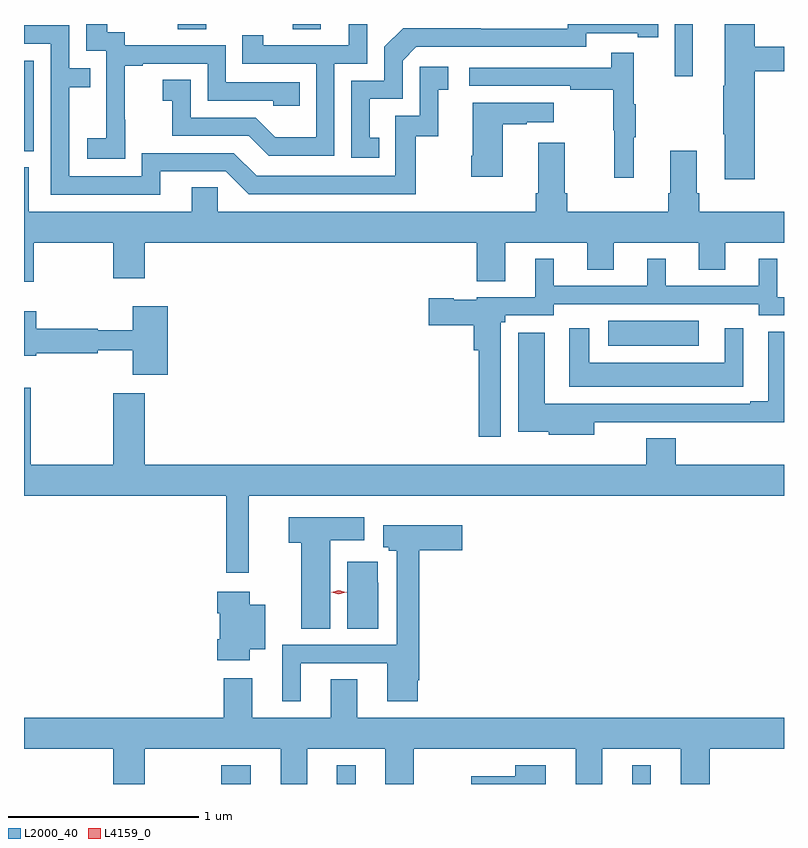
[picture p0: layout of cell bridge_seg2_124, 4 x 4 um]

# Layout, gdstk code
import gdstk
lib = gdstk.Library(unit=1e-6, precision=1e-09)
def R(c, l, rs):  # rectangles x0, y0, x1, y1
    for r in rs: c.add(gdstk.rectangle(r[:2], r[2:], *l))
def P(c, l, *ps):  # polygons
    for p in ps: c.add(gdstk.Polygon(p, *l))
L2000_40 = (2000, 40)
L4159_0 = (4159, 0)

bridge_seg2_124 = lib.new_cell('bridge_seg2_124')
R(bridge_seg2_124, L2000_40, [(453.286,624.807,453.442,624.907), (453.896,624.807,453.994,624.907), (455.45,624.807,455.548,624.907), (455.325,627.113,455.8,627.244), (452.249,628.137,452.301,628.614), (455.673,628.533,455.77,628.807), (453.059,628.78,453.207,628.807), (453.664,628.78,453.811,628.807)])
P(bridge_seg2_124, L2000_40, [(456.095,628.558),(456.249,628.558),(456.249,628.687),(456.095,628.687),(456.095,628.807),(455.936,628.807),(455.936,628.481),(455.929,628.481),(455.929,628.228),(455.936,628.228),(455.936,627.99),(456.095,627.99)],
  [(453.882,628.599),(454.056,628.599),(454.056,628.807),(453.959,628.807),(453.959,628.695),(453.508,628.695),(453.508,628.747),(453.397,628.747),(453.397,628.599),(453.786,628.599),(453.786,628.21),(453.572,628.21),(453.468,628.314),(453.126,628.314),(453.126,628.513),(452.979,628.513),(452.979,628.403),(453.028,628.403),(453.028,628.218),(453.431,628.218),(453.536,628.113),(453.882,628.113)],
  [(452.781,628.303),(452.78,628.303),(452.78,628.587),(452.875,628.587),(452.875,628.599),(453.216,628.599),(453.216,628.404),(453.561,628.404),(453.561,628.377),(453.701,628.377),(453.701,628.5),(453.312,628.5),(453.312,628.695),(452.778,628.695),(452.778,628.764),(452.686,628.764),(452.686,628.807),(452.577,628.807),(452.577,628.665),(452.682,628.665),(452.682,628.436),(452.681,628.436),(452.681,628.207),(452.583,628.207),(452.583,628.097),(452.781,628.097)],
  [(454.118,628.209),(454.069,628.209),(454.069,628.413),(454.242,628.413),(454.242,628.614),(454.314,628.686),(455.208,628.686),(455.208,628.758),(455.48,628.758),(455.48,628.738),(455.588,628.738),(455.588,628.807),(455.112,628.807),(455.112,628.782),(454.652,628.782),(454.652,628.784),(454.244,628.784),(454.146,628.686),(454.146,628.509),(453.972,628.509),(453.972,628.104),(454.118,628.104)],
  [(452.965,628.032),(453.312,628.032),(453.432,627.912),(454.312,627.912),(454.312,628.215),(454.43,628.215),(454.43,628.461),(454.483,628.461),(454.483,628.582),(454.332,628.582),(454.332,628.323),(454.203,628.323),(454.203,628.008),(453.474,628.008),(453.354,628.128),(452.868,628.128),(452.868,628.005),(452.487,628.005),(452.487,628.474),(452.597,628.474),(452.597,628.575),(452.487,628.575),(452.487,628.8),(452.249,628.8),(452.249,628.704),(452.391,628.704),(452.391,627.909),(452.965,627.909)],
  [(455.459,628.211),(455.47,628.211),(455.47,628.385),(455.459,628.385),(455.459,628.657),(455.341,628.657),(455.341,628.578),(454.593,628.578),(454.593,628.482),(455.125,628.482),(455.125,628.462),(455.349,628.462),(455.349,628.248),(455.356,628.248),(455.356,627.999),(455.459,627.999)],
  [(454.768,628.279),(454.895,628.279),(454.895,628.289),(455.038,628.289),(455.038,628.393),(454.61,628.393),(454.61,628.114),(454.603,628.114),(454.603,628.002),(454.768,628.002)],
  [(452.301,627.656),(452.72,627.656),(452.72,627.468),(452.884,627.468),(452.884,627.656),(454.631,627.656),(454.631,627.454),(454.783,627.454),(454.783,627.656),(455.213,627.656),(455.213,627.514),(455.353,627.514),(455.353,627.656),(455.801,627.656),(455.801,627.514),(455.941,627.514),(455.941,627.656),(456.249,627.656),(456.249,627.82),(455.804,627.82),(455.804,627.916),(455.791,627.916),(455.791,628.141),(455.651,628.141),(455.651,627.916),(455.639,627.916),(455.639,627.82),(455.108,627.82),(455.108,627.916),(455.095,627.916),(455.095,628.183),(454.955,628.183),(454.955,627.916),(454.943,627.916),(454.943,627.82),(453.27,627.82),(453.27,627.947),(453.131,627.947),(453.131,627.82),(452.275,627.82),(452.275,628.052),(452.249,628.052),(452.249,627.45),(452.301,627.45)],
  [(454.758,627.237),(454.781,627.237),(454.781,627.273),(455.037,627.273),(455.037,627.333),(456.117,627.333),(456.117,627.273),(456.249,627.273),(456.249,627.369),(456.214,627.369),(456.214,627.571),(456.116,627.571),(456.116,627.429),(455.626,627.429),(455.626,627.571),(455.528,627.571),(455.528,627.429),(455.038,627.429),(455.038,627.571),(454.94,627.571),(454.94,627.369),(454.632,627.369),(454.632,627.355),(454.512,627.355),(454.512,627.363),(454.38,627.363),(454.38,627.221),(454.616,627.221),(454.616,627.089),(454.642,627.089),(454.642,626.634),(454.758,626.634)],
  [(453.005,627.322),(452.822,627.322),(452.822,627.194),(452.638,627.194),(452.638,627.202),(452.314,627.202),(452.314,627.295),(452.249,627.295),(452.249,627.062),(452.314,627.062),(452.314,627.073),(452.638,627.073),(452.638,627.091),(452.822,627.091),(452.822,626.961),(453.005,626.961)],
  [(456.034,627.205),(455.936,627.205),(455.936,627.025),(455.224,627.025),(455.224,627.205),(455.12,627.205),(455.12,626.897),(456.034,626.897)],
  [(455.251,626.712),(455.761,626.712),(455.761,626.71),(456.249,626.71),(456.249,627.187),(456.167,627.187),(456.167,626.821),(456.071,626.821),(456.071,626.808),(454.99,626.808),(454.99,627.181),(454.85,627.181),(454.85,626.66),(455.01,626.66),(455.01,626.645),(455.251,626.645)],
  [(453.431,626.324),(456.249,626.324),(456.249,626.488),(455.678,626.488),(455.678,626.627),(455.525,626.627),(455.525,626.488),(452.884,626.488),(452.884,626.863),(452.72,626.863),(452.72,626.488),(452.284,626.488),(452.284,626.893),(452.249,626.893),(452.249,626.324),(453.313,626.324),(453.313,625.92),(453.431,625.92)],
  [(453.862,626.09),(454.039,626.09),(454.039,626.212),(453.642,626.212),(453.642,626.078),(453.707,626.078),(453.707,625.624),(453.862,625.624)],
  [(453.706,625.443),(454.16,625.443),(454.16,625.242),(454.322,625.242),(454.322,625.354),(454.328,625.354),(454.328,626.036),(454.555,626.036),(454.555,626.17),(454.141,626.17),(454.141,626.053),(454.17,626.053),(454.17,626.034),(454.212,626.034),(454.212,625.539),(453.608,625.539),(453.608,625.242),(453.706,625.242)],
  [(454.114,625.865),(454.112,625.865),(454.112,625.978),(453.95,625.978),(453.95,625.624),(454.114,625.624)],
  [(453.436,625.517),(453.52,625.517),(453.52,625.75),(453.436,625.75),(453.436,625.819),(453.266,625.819),(453.266,625.706),(453.278,625.706),(453.278,625.57),(453.266,625.57),(453.266,625.458),(453.436,625.458)],
  [(452.884,624.992),(453.599,624.992),(453.599,624.807),(453.739,624.807),(453.739,624.992),(454.151,624.992),(454.151,624.807),(454.299,624.807),(454.299,624.992),(455.153,624.992),(455.153,624.807),(455.293,624.807),(455.293,624.992),(455.705,624.992),(455.705,624.807),(455.858,624.807),(455.858,624.992),(456.249,624.992),(456.249,625.156),(454.003,625.156),(454.003,625.358),(453.863,625.358),(453.863,625.156),(453.451,625.156),(453.451,625.363),(453.299,625.363),(453.299,625.156),(452.249,625.156),(452.249,624.992),(452.72,624.992),(452.72,624.807),(452.884,624.807)],
  [(454.996,624.907),(454.835,624.907),(454.835,624.847),(454.602,624.847),(454.602,624.807),(454.996,624.807)])
P(bridge_seg2_124, L4159_0, [(453.906,625.806),(453.866,625.817),(453.866,625.817),(453.866,625.817),(453.906,625.826),(453.946,625.816),(453.947,625.816),(453.946,625.816)])

lib.write_gds('bridge_seg2_124.gds')
